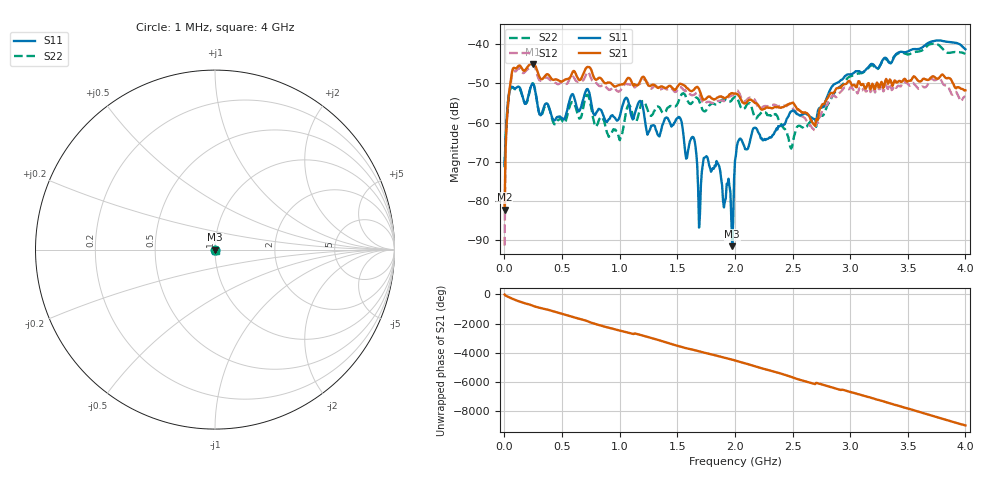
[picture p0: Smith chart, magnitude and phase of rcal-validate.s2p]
!Created with skrf (http://scikit-rf.org).
# GHz S DB R 50.0
!freq dBS11 angS11 dBS21 angS21 dBS12 angS12 dBS22 angS22
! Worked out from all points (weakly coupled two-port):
!   501 points, 1 MHz to 4 GHz, reference 50 ohm
!   highest |S21| = -45.01 dB at 248.9 MHz (marker M1); lowest = -82.1 dB at 1 MHz (marker M2)
!   lowest |S11| = -91.5 dB at 1.977 GHz (marker M3), VSWR 1.00, Z = 50 - j0.00114 ohm
!   |S11| at or under -10 dB: start of sweep to end of sweep
!   |S22| runs from -70.9 to -39.9 dB; largest |S21 - S12| = 0.0066
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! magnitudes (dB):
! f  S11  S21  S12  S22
! 1 MHz  -71.1  -82.1  -91.3  -70.9
! 32.99 MHz  -54.0  -54.4  -55.1  -54.0
! 64.98 MHz  -50.9  -47.1  -47.8  -51.0
! 248.9 MHz  -50.2  -45.0  -45.2  -50.0
! 432.9 MHz  -59.4  -49.0  -49.6  -60.4
! 672.8 MHz  -55.2  -48.3  -49.4  -57.8
! 1.001 GHz  -58.4  -50.3  -52.0  -64.5
! 1.073 GHz  -54.4  -48.6  -50.3  -55.6
! 1.337 GHz  -63.3  -51.2  -51.3  -55.9
! 1.521 GHz  -58.7  -50.1  -50.9  -53.8
! 1.577 GHz  -69.2  -51.0  -52.2  -53.8
! 1.641 GHz  -63.8  -51.7  -52.9  -54.4
! 1.697 GHz  -83.2  -52.1  -53.2  -55.0
! 1.745 GHz  -68.8  -54.0  -55.1  -57.0
! 1.977 GHz  -91.5  -52.5  -53.1  -54.0
! 2.001 GHz  -69.7  -52.6  -52.3  -53.4
! 2.04 GHz  -64.1  -53.5  -52.6  -55.2
! 2.488 GHz  -57.1  -55.1  -55.6  -66.6
! 2.672 GHz  -58.9  -60.0  -61.4  -59.8
! 2.944 GHz  -48.5  -50.3  -51.2  -50.0
! 3.336 GHz  -44.6  -49.6  -50.6  -44.6
! 4 GHz  -41.3  -51.7  -53.4  -42.5
